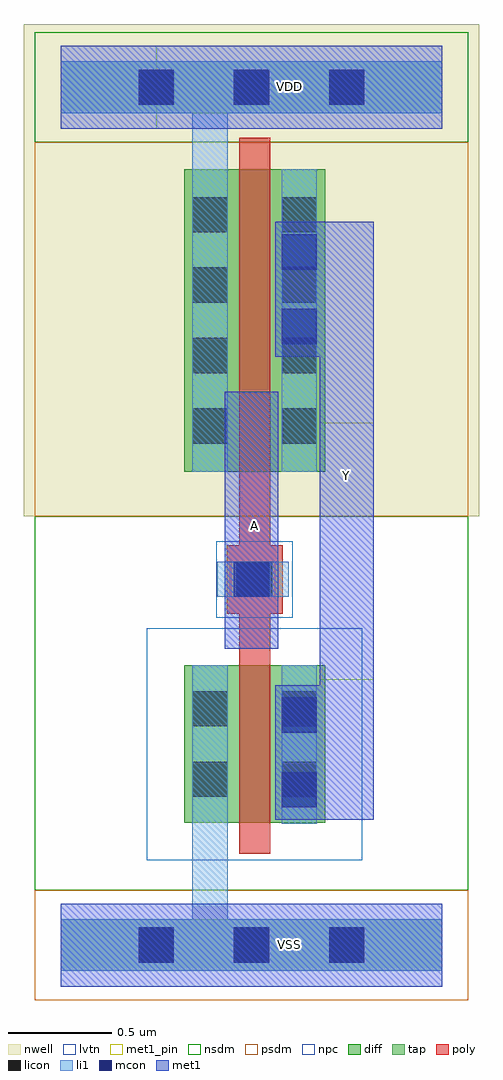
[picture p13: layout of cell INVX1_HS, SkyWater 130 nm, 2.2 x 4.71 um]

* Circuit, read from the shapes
.subckt INVX1_HS A VDD VSS Y
XM1 Y A VSS VSS sky130_fd_pr__nfet_01v8_lvt w=0.76 l=0.15
XM2 Y A VDD VDD sky130_fd_pr__pfet_01v8 w=1.46 l=0.15
.ends

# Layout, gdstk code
from math import pi, radians
import gdstk
lib = gdstk.Library(unit=1e-6, precision=1e-09)
def R(c, l, rs):  # rectangles x0, y0, x1, y1
    for r in rs: c.add(gdstk.rectangle(r[:2], r[2:], *l))
def A(c, l, x, y, w, h, nx, ny, dx, dy):  # array of equal rectangles
    R(c, l, [(x+i*dx, y+j*dy, x+i*dx+w, y+j*dy+h) for i in range(nx) for j in range(ny)])
def P(c, l, *ps):  # polygons
    for p in ps: c.add(gdstk.Polygon(p, *l))
nwell = (64, 20)
diff = (65, 20)
tap = (65, 44)
poly = (66, 20)
licon = (66, 44)
li1 = (67, 20)
mcon = (67, 44)
met1_pin = (68, 16)
met1 = (68, 20)
nsdm = (93, 44)
psdm = (94, 20)
npc = (95, 20)
lvtn = (125, 44)

l1m1_c_cdns_752016586816 = lib.new_cell('L1M1_C_CDNS_752016586816')
R(l1m1_c_cdns_752016586816, li1, [(-0.085,-0.345,0.085,0.345)])
R(l1m1_c_cdns_752016586816, mcon, [(-0.085,-0.265,0.085,-0.095), (-0.085,0.095,0.085,0.265)])
R(l1m1_c_cdns_752016586816, met1, [(-0.115,-0.325,0.115,0.325)])

l1m1_c_cdns_752016586811 = lib.new_cell('L1M1_C_CDNS_752016586811')
R(l1m1_c_cdns_752016586811, li1, [(-0.165,-0.085,0.165,0.085)])
R(l1m1_c_cdns_752016586811, mcon, [(-0.085,-0.085,0.085,0.085)])
R(l1m1_c_cdns_752016586811, met1, [(-0.115,-0.145,0.115,0.145)])

pyl1con_c_cdns_752016586 = lib.new_cell('PYL1CON_C_CDNS_752016586813')
R(pyl1con_c_cdns_752016586, poly, [(-0.135,-0.165,0.135,0.165)])
R(pyl1con_c_cdns_752016586, licon, [(-0.085,-0.085,0.085,0.085)])
R(pyl1con_c_cdns_752016586, npc, [(-0.185,-0.185,0.185,0.185)])

invx1_hs = lib.new_cell('INVX1_HS')
R(invx1_hs, nwell, [(-0.18,2.07,2.02,4.445)])
R(invx1_hs, diff, [(0.595,0.59,1.275,1.35), (0.595,2.285,1.275,3.745)])
R(invx1_hs, poly, [(0.86,0.44,1.01,3.895)])
A(invx1_hs, licon, 0.375, -0.085, 0.17, 0.17, 3, 2, 0.46, 4.14)
A(invx1_hs, licon, 0.635, 2.42, 0.17, 0.17, 1, 4, 0, 0.34)
A(invx1_hs, licon, 1.065, 2.42, 0.17, 0.17, 1, 4, 0, 0.34)
R(invx1_hs, licon, [(0.635,0.715,0.805,0.885), (1.065,0.715,1.235,0.885), (0.635,1.055,0.805,1.225), (1.065,1.055,1.235,1.225)])
R(invx1_hs, li1, [(1.065,0.59,1.235,1.35), (1.065,2.285,1.235,3.745)])
P(invx1_hs, li1, [(1.84,4.265),(0,4.265),(0,4.015),(0.635,4.015),(0.635,2.285),(0.805,2.285),(0.805,4.015),(1.84,4.015)],
  [(1.84,0.125),(0.805,0.125),(0.805,1.35),(0.635,1.35),(0.635,0.125),(0,0.125),(0,-0.125),(1.84,-0.125)])
A(invx1_hs, mcon, 0.375, -0.085, 0.17, 0.17, 3, 2, 0.46, 4.14)
R(invx1_hs, met1_pin, [(1.25,1.28,1.51,2.52), (0.79,1.43,1.05,2.67)])
R(invx1_hs, nsdm, [(-0.125,0.265,1.965,2.07), (-0.125,3.875,1.965,4.405)])
R(invx1_hs, psdm, [(-0.125,-0.265,1.965,0.265), (-0.125,2.07,1.965,3.875)])
R(invx1_hs, lvtn, [(0.415,0.41,1.455,1.53)])
invx1_hs.add(gdstk.FlexPath([(1.38,3.49),(1.38,0.605)], 0.26, ends="flush", simple_path=True, layer=68, datatype=20))  # met1
invx1_hs.add(gdstk.FlexPath([(0,4.14),(1.84,4.14)], 0.4, ends="flush", simple_path=True, layer=68, datatype=20))  # met1
invx1_hs.add(gdstk.FlexPath([(0.92,1.43),(0.92,2.67)], 0.26, ends="flush", simple_path=True, layer=68, datatype=20))  # met1
invx1_hs.add(gdstk.FlexPath([(0,0),(1.84,0)], 0.4, ends="flush", simple_path=True, layer=68, datatype=20))  # met1
invx1_hs.add(gdstk.FlexPath([(0,4.14),(1.84,4.14)], 0.25, ends="flush", simple_path=True, layer=65, datatype=44))  # tap
invx1_hs.add(gdstk.FlexPath([(0,0),(1.84,0)], 0.25, ends="flush", simple_path=True, layer=65, datatype=44))  # tap
invx1_hs.add(gdstk.FlexPath([(0.755,1.765),(1.1,1.765)], 0.17, ends="flush", simple_path=True, layer=67, datatype=20))  # li1
invx1_hs.add(gdstk.FlexPath([(0.46,4.14),(1.84,4.14)], 0.4, ends="flush", simple_path=True, layer=68, datatype=16))  # met1_pin
invx1_hs.add(gdstk.FlexPath([(0,0),(1.84,0)], 0.4, ends="flush", simple_path=True, layer=68, datatype=16))  # met1_pin
invx1_hs.add(gdstk.Reference(l1m1_c_cdns_752016586816, (1.15,3.165)))
invx1_hs.add(gdstk.Reference(l1m1_c_cdns_752016586816, (1.15,0.93)))
invx1_hs.add(gdstk.Reference(l1m1_c_cdns_752016586811, (0.92,1.765), x_reflection=True))
invx1_hs.add(gdstk.Reference(pyl1con_c_cdns_752016586, (0.935,1.765), rotation=pi, x_reflection=True))
invx1_hs.add(gdstk.Label('VDD', (1.105,4.145), layer=68, texttype=5))
invx1_hs.add(gdstk.Label('VSS', (1.105,0.005), layer=68, texttype=5))
invx1_hs.add(gdstk.Label('A', (0.935,2.025), layer=68, texttype=5))
invx1_hs.add(gdstk.Label('Y', (1.38,2.265), layer=68, texttype=5))

lib.write_gds('INVX1_HS.gds')
